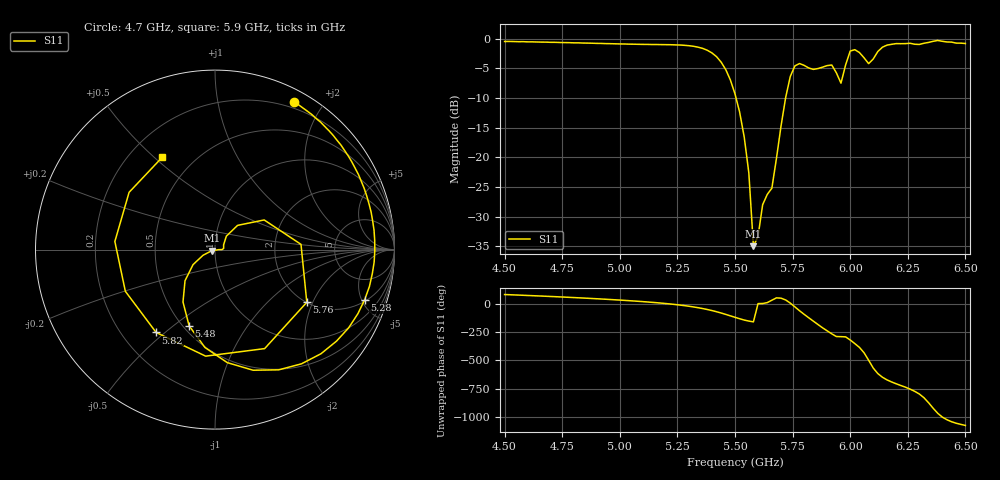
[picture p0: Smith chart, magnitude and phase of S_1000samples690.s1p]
! TOUCHSTONE file generated by CST MICROWAVE STUDIO
! Date and time: Sat Oct 29 01:12:41 2022
! Project name: L.cst
! Parameters = {Di=1.27; Epsilon_r=1.56; InnerDiameter=1.27; Length=2; Lf=10; Lg=60; OuterConductorThickness=0.2921; OuterDiameter=3.6; Wf=3; Wp=41.2; de=1.5; df=6.8; g=0.8; gx=3.83269; gy=2.0133; h=2.34; hf=1.524; px=8.77101; py=14.6993; w=9.7; wx=4.93832; wy=12.686}
! Header version: 2018
! Port assignment regex: !\s*Touchstone port\s*([0-9]+)\s*=\s*(CST MWS port|CST DS port)\s*([0-9]+|Zmin|Zmax)\s*\(\"(.*)\"\)(\s*mode\s*([0-9]+))?.*
! Touchstone port assignment:
! Touchstone port 1 = CST MWS port 1 ("")
# GHz S DB R 50
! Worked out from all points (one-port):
!   101 points, 4.5 GHz to 6.5 GHz, reference 50 ohm
!   lowest |S11| = -35.0 dB at 5.58 GHz (marker M1), VSWR 1.04, Z = 48.3 - j0.545 ohm
!   |S11| at or under -10 dB: 5.504 GHz to 5.72 GHz (215.1 MHz wide, 3.83 % of centre)
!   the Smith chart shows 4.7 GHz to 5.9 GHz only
!   S11 on the Smith chart (normalised r, x): 4.7 GHz: 0.13, +1.66; 5.28 GHz: 2.13, -5.27; 5.48 GHz: 0.54, -0.57; 5.76 GHz: 2.01, -1.81; 5.82 GHz: 0.34, -0.47; 5.9 GHz: 0.33, +0.53
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4.5  -0.47 78.9
4.7  -0.61 61.9
4.76  -0.66 56.3
5  -0.89 30.2
5.26  -1.07 -13.4
5.28  -1.12 -18.6
5.4  -2.40 -62.1
5.48  -6.97 -108.8
5.5  -9.32 -121.4
5.56  -22.62 -154.6
5.58  -35.00 -161.5
5.72  -9.90 31.1
5.76  -4.59 -29.9
5.82  -4.94 -125.4
5.9  -4.54 119.6
6  -2.09 39.0
6.04  -2.33 -26.2
6.06  -3.22 -72.9
6.08  -4.21 -139.3
6.1  -3.42 151.9
6.14  -1.44 70.8
6.18  -0.95 29.2
6.26  -0.77 -33.5
6.32  -0.77 -109.0
6.36  -0.44 158.2
6.4  -0.44 79.9
6.44  -0.58 39.3
6.5  -0.81 6.6
